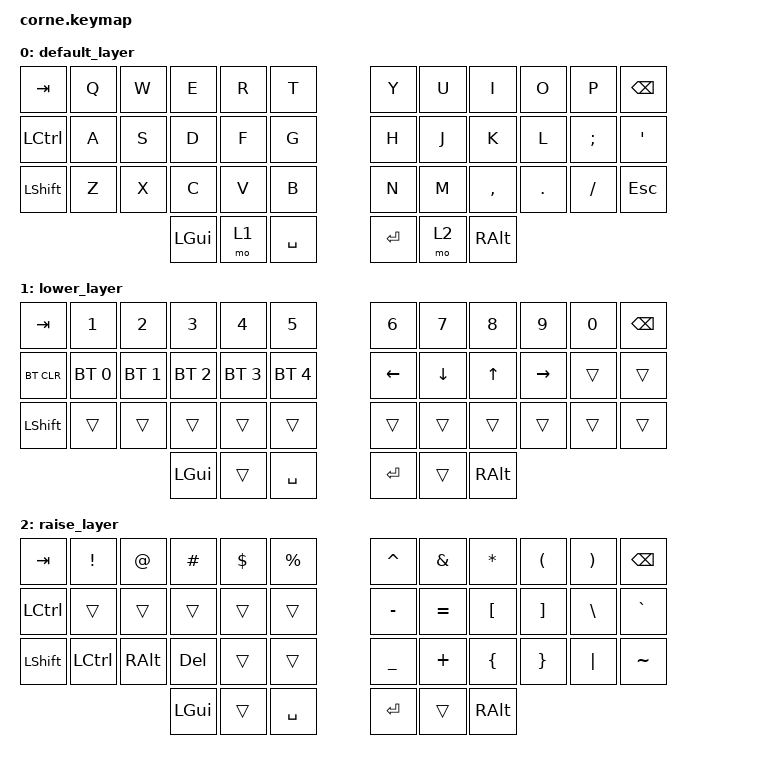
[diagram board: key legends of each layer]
/*
 * Copyright (c) 2020 The ZMK Contributors
 *
 * SPDX-License-Identifier: MIT
 */

#include <behaviors.dtsi>
#include <dt-bindings/zmk/keys.h>
#include <dt-bindings/zmk/bt.h>

/ {
    keymap {
        compatible = "zmk,keymap";

        default_layer {
            bindings = <
                &kp TAB   &kp Q &kp W &kp E &kp R &kp T   &kp Y &kp U  &kp I     &kp O   &kp P    &kp BSPC
                &kp LCTRL &kp A &kp S &kp D &kp F &kp G   &kp H &kp J  &kp K     &kp L   &kp SEMI &kp SQT
                &kp LSHFT &kp Z &kp X &kp C &kp V &kp B   &kp N &kp M  &kp COMMA &kp DOT &kp FSLH &kp ESC
                            &kp LGUI &mo 1 &kp SPACE   &kp RET &mo 2 &kp RALT
            >;
        };

        lower_layer {
            bindings = <
                &kp TAB    &kp N1       &kp N2       &kp N3       &kp N4       &kp N5         &kp N6   &kp N7   &kp N8 &kp N9    &kp N0 &kp BSPC
                &bt BT_CLR &bt BT_SEL 0 &bt BT_SEL 1 &bt BT_SEL 2 &bt BT_SEL 3 &bt BT_SEL 4   &kp LEFT &kp DOWN &kp UP &kp RIGHT &trans &trans
                &kp LSHFT  &trans       &trans       &trans       &trans       &trans         &trans   &trans   &trans &trans    &trans &trans
                                        &kp LGUI     &trans       &kp SPACE      &kp RET  &trans   &kp RALT
            >;
        };

        raise_layer {
            bindings = <
                &kp  TAB  &kp EXCL &kp AT &kp HASH &kp DLLR &kp PRCNT   &kp CARET &kp AMPS  &kp ASTRK &kp LPAR &kp RPAR &kp BSPC
                &kp LCTRL &trans   &trans &trans   &trans   &trans      &kp MINUS &kp EQUAL &kp LBKT  &kp RBKT &kp BSLH &kp GRAVE
                &kp LSHFT &kp LCTRL   &kp RALT &kp DEL   &trans   &trans      &kp UNDER &kp PLUS  &kp LBRC  &kp RBRC &kp PIPE &kp TILDE
                                 &kp LGUI &trans   &kp SPACE   &kp RET   &trans    &kp RALT
            >;
        };
    };

    combos {
        compatible = "zmk,combos";

        combo_ctrl_alt_del {
            timeout-ms = <200>;
            key-positions = <0 12>; // LCTRL en la posición 0, LALT en la posición 11, DEL en la posición 12
            bindings = <&kp LCTRL &kp LALT &kp DEL>; // Acción que ocurre cuando las tres teclas se presionan
        };
    };
};

&led_strip {
    chain-length = <27>;
};
